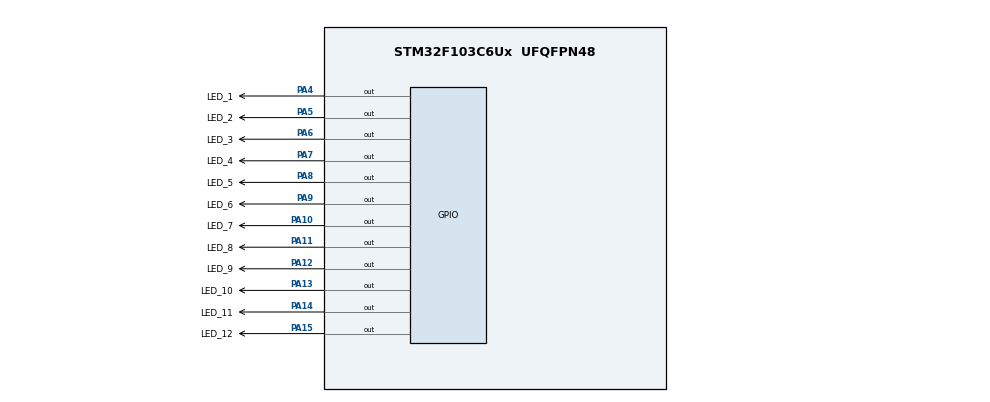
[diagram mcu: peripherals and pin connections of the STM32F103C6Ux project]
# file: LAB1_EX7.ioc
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Mcu.Family=STM32F1
Mcu.Name=STM32F103C6Ux
Mcu.Package=UFQFPN48
NVIC.PriorityGroup=NVIC_PRIORITYGROUP_4
PA10.GPIO_Label=LED_7
PA10.Signal=GPIO_Output
PA11.GPIO_Label=LED_8
PA11.Signal=GPIO_Output
PA12.GPIO_Label=LED_9
PA12.Signal=GPIO_Output
PA13.GPIO_Label=LED_10
PA13.Signal=GPIO_Output
PA14.GPIO_Label=LED_11
PA14.Signal=GPIO_Output
PA15.GPIO_Label=LED_12
PA15.Signal=GPIO_Output
PA4.GPIO_Label=LED_1
PA4.Signal=GPIO_Output
PA5.GPIO_Label=LED_2
PA5.Signal=GPIO_Output
PA6.GPIO_Label=LED_3
PA6.Signal=GPIO_Output
PA7.GPIO_Label=LED_4
PA7.Signal=GPIO_Output
PA8.GPIO_Label=LED_5
PA8.Signal=GPIO_Output
PA9.GPIO_Label=LED_6
PA9.Signal=GPIO_Output
ProjectManager.HeapSize=0x200
ProjectManager.StackSize=0x400
ProjectManager.TargetToolchain=STM32CubeIDE
RCC.APB1Freq_Value=8000000
RCC.APB2Freq_Value=8000000
VP_SYS_VS_ND.Mode=No_Debug
board=custom

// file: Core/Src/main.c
/* USER CODE BEGIN Header */
/**
  ******************************************************************************
  * @file           : main.c
  * @brief          : Main program body
  ******************************************************************************
  * @attention
  *
  * <h2><center>&copy; Copyright (c) 2025 STMicroelectronics.
  * All rights reserved.</center></h2>
  *
  * This software component is licensed by ST under BSD 3-Clause license,
  * the "License"; You may not use this file except in compliance with the
  * License. You may obtain a copy of the License at:
  *                        opensource.org/licenses/BSD-3-Clause
  *
  ******************************************************************************
  */
/* USER CODE END Header */
#include "main.h"

void SystemClock_Config(void);
static void MX_GPIO_Init(void);

int main(void)
{

  /* MCU Configuration--------------------------------------------------------*/

  /* Reset of all peripherals, Initializes the Flash interface and the Systick. */
  HAL_Init();

  /* Configure the system clock */
  SystemClock_Config();

  /* Initialize all configured peripherals */
  MX_GPIO_Init();

  /* Infinite loop */
  /* USER CODE BEGIN WHILE */

#define NUM_LEDS 12
  GPIO_TypeDef* LED_Port[NUM_LEDS] = {
      LED_1_GPIO_Port, LED_2_GPIO_Port, LED_3_GPIO_Port, LED_4_GPIO_Port,
      LED_5_GPIO_Port, LED_6_GPIO_Port, LED_7_GPIO_Port, LED_8_GPIO_Port,
      LED_9_GPIO_Port, LED_10_GPIO_Port, LED_11_GPIO_Port, LED_12_GPIO_Port
  };

  uint16_t LED_Pin[NUM_LEDS] = {
      LED_1_Pin, LED_2_Pin, LED_3_Pin, LED_4_Pin,
      LED_5_Pin, LED_6_Pin, LED_7_Pin, LED_8_Pin,
      LED_9_Pin, LED_10_Pin, LED_11_Pin, LED_12_Pin
  };

  void clearAllClock(){
  	  for (int i = 0; i < NUM_LEDS; i ++){
  		  HAL_GPIO_WritePin(LED_Port[i], LED_Pin[i], RESET);
  	  }
    }

  /*void testLed(){
	  for (int i = 0; i < NUM_LEDS; i++)
	  	          {
	  	              HAL_GPIO_WritePin(LED_Port[i], LED_Pin[i], SET);
	  	              HAL_Delay(1000);

	  	              HAL_GPIO_WritePin(LED_Port[i], LED_Pin[i], RESET);
	  	          }
  }*/
  while (1)
  {
	  //testLed();
	  for (int i = 0; i < NUM_LEDS; i++)
	  	  	          {
	  	  	              HAL_GPIO_WritePin(LED_Port[i], LED_Pin[i], SET);
	  	  	          }
	  HAL_Delay(1000);
	  clearAllClock();
	  HAL_Delay(1000);

    /* USER CODE END WHILE */

  }
}

void SystemClock_Config(void)
{
  RCC_OscInitTypeDef RCC_OscInitStruct = {0};
  RCC_ClkInitTypeDef RCC_ClkInitStruct = {0};

  /** Initializes the RCC Oscillators according to the specified parameters
  * in the RCC_OscInitTypeDef structure.
  */
  RCC_OscInitStruct.OscillatorType = RCC_OSCILLATORTYPE_HSI;
  RCC_OscInitStruct.HSIState = RCC_HSI_ON;
  RCC_OscInitStruct.HSICalibrationValue = RCC_HSICALIBRATION_DEFAULT;
  RCC_OscInitStruct.PLL.PLLState = RCC_PLL_NONE;
  if (HAL_RCC_OscConfig(&RCC_OscInitStruct) != HAL_OK)
  {
    Error_Handler();
  }
  /** Initializes the CPU, AHB and APB buses clocks
  */
  RCC_ClkInitStruct.ClockType = RCC_CLOCKTYPE_HCLK|RCC_CLOCKTYPE_SYSCLK
                              |RCC_CLOCKTYPE_PCLK1|RCC_CLOCKTYPE_PCLK2;
  RCC_ClkInitStruct.SYSCLKSource = RCC_SYSCLKSOURCE_HSI;
  RCC_ClkInitStruct.AHBCLKDivider = RCC_SYSCLK_DIV1;
  RCC_ClkInitStruct.APB1CLKDivider = RCC_HCLK_DIV1;
  RCC_ClkInitStruct.APB2CLKDivider = RCC_HCLK_DIV1;

  if (HAL_RCC_ClockConfig(&RCC_ClkInitStruct, FLASH_LATENCY_0) != HAL_OK)
  {
    Error_Handler();
  }
}

static void MX_GPIO_Init(void)
{
  GPIO_InitTypeDef GPIO_InitStruct = {0};

  /* GPIO Ports Clock Enable */
  __HAL_RCC_GPIOA_CLK_ENABLE();

  /*Configure GPIO pin Output Level */
  HAL_GPIO_WritePin(GPIOA, LED_1_Pin|LED_2_Pin|LED_3_Pin|LED_4_Pin
                          |LED_5_Pin|LED_6_Pin|LED_7_Pin|LED_8_Pin
                          |LED_9_Pin|LED_10_Pin|LED_11_Pin|LED_12_Pin, GPIO_PIN_RESET);

  /*Configure GPIO pins : LED_1_Pin LED_2_Pin LED_3_Pin LED_4_Pin
                           LED_5_Pin LED_6_Pin LED_7_Pin LED_8_Pin
                           LED_9_Pin LED_10_Pin LED_11_Pin LED_12_Pin */
  GPIO_InitStruct.Pin = LED_1_Pin|LED_2_Pin|LED_3_Pin|LED_4_Pin
                          |LED_5_Pin|LED_6_Pin|LED_7_Pin|LED_8_Pin
                          |LED_9_Pin|LED_10_Pin|LED_11_Pin|LED_12_Pin;
  GPIO_InitStruct.Mode = GPIO_MODE_OUTPUT_PP;
  GPIO_InitStruct.Pull = GPIO_NOPULL;
  GPIO_InitStruct.Speed = GPIO_SPEED_FREQ_LOW;
  HAL_GPIO_Init(GPIOA, &GPIO_InitStruct);

}

void Error_Handler(void)
{
  __disable_irq();
  while (1)
  {
  }
}

/************************ (C) COPYRIGHT STMicroelectronics *****END OF FILE****/
